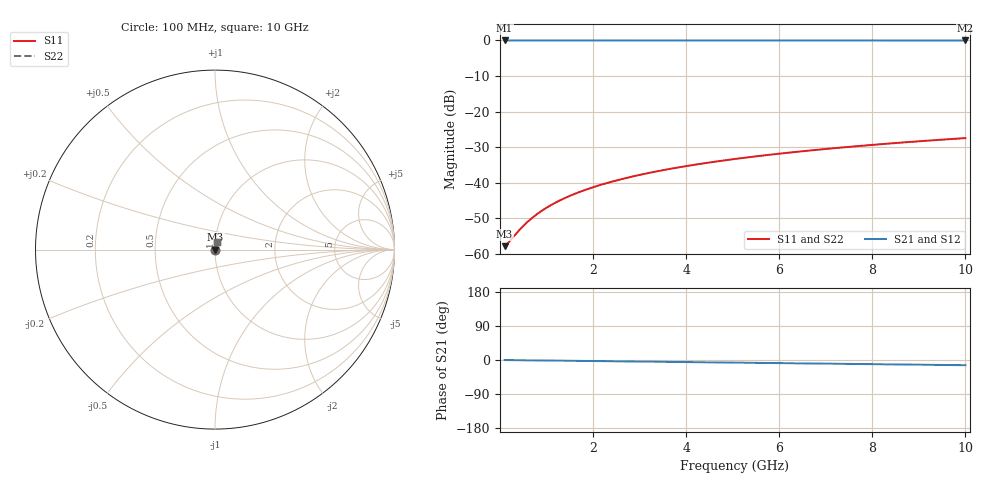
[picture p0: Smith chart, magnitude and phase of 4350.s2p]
# Hz S RI R 50.00
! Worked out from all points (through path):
!   100 points, 100 MHz to 10 GHz, reference 50 ohm
!   highest |S21| = -0.01 dB at 100 MHz (marker M1); lowest = 0.0 dB at 10 GHz (marker M2)
!   group delay of S21, straight-line fit = 3.81 ps
!   lowest |S11| = -57.8 dB at 100 MHz (marker M3), VSWR 1.00, Z = 50.1 + j0.0427 ohm
!   |S11| at or under -10 dB: start of sweep to end of sweep
!   |S22| runs from -57.8 to -27.4 dB; largest |S21 - S12| = 0
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1e8  0.00121 0.000426  0.9988 -0.00238  0.9988 -0.00238  0.00121 0.000426
2e8  0.00123 0.000851  0.9988 -0.00477  0.9988 -0.00477  0.00123 0.000851
4e8  0.00125 0.0017  0.9987 -0.00954  0.9987 -0.00954  0.00125 0.0017
5e8  0.00126 0.00213  0.9987 -0.0119  0.9987 -0.0119  0.00126 0.00213
6e8  0.00127 0.00255  0.9986 -0.0143  0.9986 -0.0143  0.00127 0.00255
7e8  0.00129 0.00298  0.9986 -0.0167  0.9986 -0.0167  0.00129 0.00298
8e8  0.00131 0.0034  0.9986 -0.0191  0.9986 -0.0191  0.00131 0.0034
1e9  0.00135 0.00425  0.9984 -0.0238  0.9984 -0.0238  0.00135 0.00425
1.2e9  0.00139 0.0051  0.9983 -0.0286  0.9983 -0.0286  0.00139 0.0051
1.5e9  0.00148 0.00638  0.9981 -0.0358  0.9981 -0.0358  0.00148 0.00638
1.8e9  0.00158 0.00765  0.9978 -0.0429  0.9978 -0.0429  0.00158 0.00765
2.1e9  0.00171 0.00892  0.9974 -0.0501  0.9974 -0.0501  0.00171 0.00892
2.5e9  0.0019 0.0106  0.9969 -0.0596  0.9969 -0.0596  0.0019 0.0106
2.9e9  0.00212 0.0123  0.9962 -0.0691  0.9962 -0.0691  0.00212 0.0123
3.4e9  0.00244 0.0144  0.9953 -0.081  0.9953 -0.081  0.00244 0.0144
4.2e9  0.00306 0.0177  0.9935 -0.1001  0.9935 -0.1001  0.00306 0.0177
5.1e9  0.00391 0.0215  0.991 -0.1215  0.991 -0.1215  0.00391 0.0215
5.9e9  0.0048 0.0247  0.9884 -0.1404  0.9884 -0.1404  0.0048 0.0247
6.7e9  0.00582 0.028  0.9854 -0.1593  0.9854 -0.1593  0.00582 0.028
7.5e9  0.00696 0.0312  0.982 -0.1782  0.982 -0.1782  0.00696 0.0312
8.4e9  0.00839 0.0347  0.9778 -0.1994  0.9778 -0.1994  0.00839 0.0347
1e10  0.0113 0.0409  0.9691 -0.2368  0.9691 -0.2368  0.0113 0.0409
